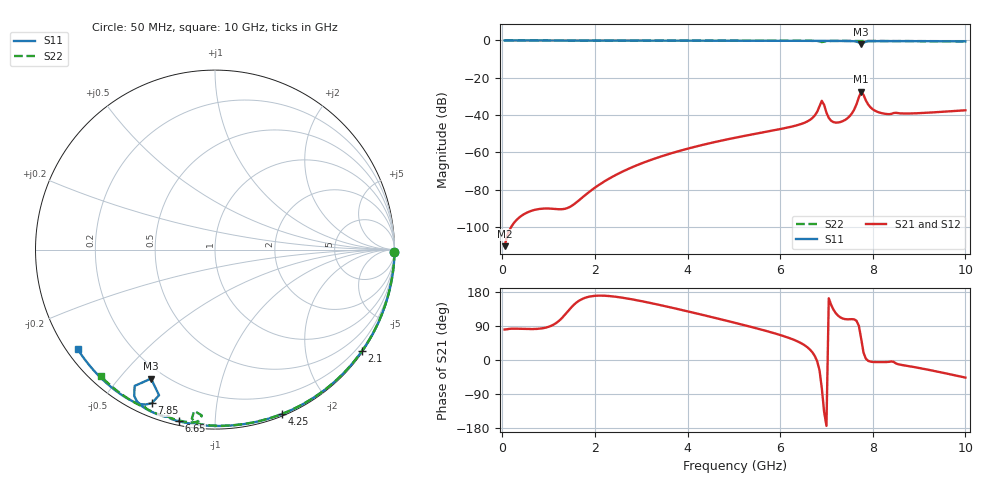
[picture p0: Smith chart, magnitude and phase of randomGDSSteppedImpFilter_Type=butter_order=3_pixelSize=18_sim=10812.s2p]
! freq	dB(S11)	phase(S11)	dB(S12)	phase(S12)
!  dB(S21)	phase(S21)	dB(S22)	phase(S22)
!S-par simulation data
#  GHz  S  DB  R 50
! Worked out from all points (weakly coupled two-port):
!   200 points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, 50 MHz to 10 GHz, reference 50 ohm
!   highest |S21| = -27.52 dB at 7.75 GHz (marker M1); lowest = -110.3 dB at 50 MHz (marker M2)
!   lowest |S11| = -1.9 dB at 7.75 GHz (marker M3), VSWR 9.11, Z = 7.56 - j30.5 ohm
!   |S11| at or under -10 dB: nowhere
!   |S22| runs from -0.9 to 0.0 dB; largest |S21 - S12| = 0
!   S11 on the Smith chart (normalised r, x): 50 MHz: open; 2.1 GHz: 0.03, -3.21; 4.25 GHz: 0.02, -1.49; 6.65 GHz: 0.02, -0.81; 7.85 GHz: 0.06, -0.67; 10 GHz: 0.03, -0.32
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0.05  -0.00 -0.8  -110.28 80.5  -110.28 80.5  -0.00 -0.8
1.75  -0.04 -28.9  -83.73 162.3  -83.73 162.3  -0.03 -26.4
1.95  -0.04 -32.2  -79.82 168.7  -79.82 168.7  -0.04 -29.3
2.1  -0.04 -34.6  -77.22 169.9  -77.22 169.9  -0.04 -31.5
2.7  -0.06 -44.1  -69.09 162.3  -69.09 162.3  -0.05 -40.2
3.4  -0.07 -55.0  -62.41 145.2  -62.41 145.2  -0.07 -50.2
4.25  -0.10 -67.8  -56.44 121.2  -56.44 121.2  -0.09 -62.0
5.05  -0.12 -79.4  -52.04 97.4  -52.04 97.4  -0.11 -72.7
6.25  -0.17 -96.3  -46.18 55.6  -46.18 55.6  -0.16 -88.3
6.65  -0.20 -101.9  -42.47 26.7  -42.47 26.7  -0.20 -93.8
6.7  -0.20 -102.6  -41.49 19.6  -41.49 19.6  -0.21 -94.6
6.8  -0.22 -104.1  -38.21 -3.6  -38.21 -3.6  -0.29 -96.6
6.9  -0.30 -105.5  -32.35 -74.9  -32.35 -74.9  -0.86 -97.4
7.1  -0.24 -108.0  -43.04 145.8  -43.04 145.8  -0.26 -97.3
7.4  -0.28 -112.7  -42.64 107.9  -42.64 107.9  -0.24 -101.6
7.6  -0.43 -117.1  -37.00 107.1  -37.00 107.1  -0.26 -104.2
7.7  -1.09 -120.5  -30.44 90.1  -30.44 90.1  -0.30 -105.5
7.75  -1.91 -116.4  -27.52 56.1  -27.52 56.1  -0.32 -105.8
7.85  -0.67 -112.4  -32.09 3.7  -32.09 3.7  -0.26 -106.9
8.05  -0.35 -117.6  -37.70 -5.4  -37.70 -5.4  -0.27 -109.5
8.35  -0.33 -122.4  -39.51 -4.9  -39.51 -4.9  -0.31 -113.3
10  -0.49 -144.1  -37.44 -46.4  -37.44 -46.4  -0.45 -132.0
